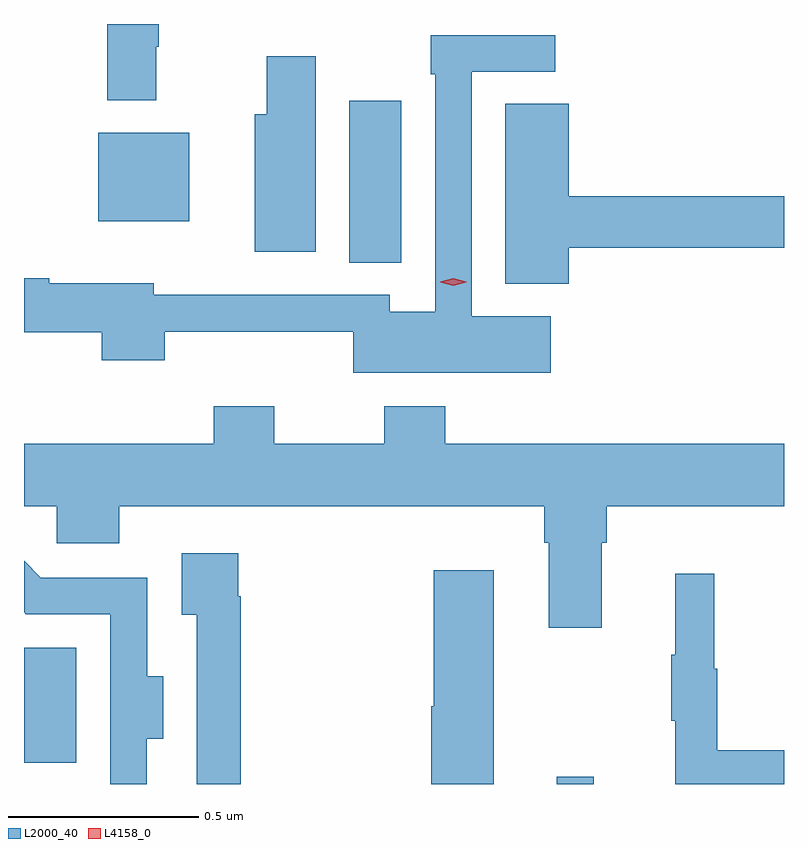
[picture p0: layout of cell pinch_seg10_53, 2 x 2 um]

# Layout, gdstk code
import gdstk
lib = gdstk.Library(unit=1e-6, precision=1e-09)
def R(c, l, rs):  # rectangles x0, y0, x1, y1
    for r in rs: c.add(gdstk.rectangle(r[:2], r[2:], *l))
def P(c, l, *ps):  # polygons
    for p in ps: c.add(gdstk.Polygon(p, *l))
L2000_40 = (2000, 40)
L4158_0 = (4158, 0)

pinch_seg10_53 = lib.new_cell('pinch_seg10_53')
R(pinch_seg10_53, L2000_40, [(853.874,1287.597,853.971,1287.616), (852.472,1287.653,852.61,1287.955), (853.328,1288.969,853.465,1289.395), (852.668,1289.078,852.907,1289.311)])
P(pinch_seg10_53, L2000_40, [(852.82,1289.537),(852.827,1289.537),(852.827,1289.597),(852.691,1289.597),(852.691,1289.397),(852.82,1289.397)],
  [(853.858,1288.828),(853.65,1288.828),(853.65,1289.472),(853.87,1289.472),(853.87,1289.568),(853.542,1289.568),(853.542,1289.465),(853.554,1289.465),(853.554,1288.84),(853.434,1288.84),(853.434,1288.884),(852.814,1288.884),(852.814,1288.915),(852.538,1288.915),(852.538,1288.928),(852.472,1288.928),(852.472,1288.786),(852.677,1288.786),(852.677,1288.712),(852.842,1288.712),(852.842,1288.787),(853.338,1288.787),(853.338,1288.679),(853.858,1288.679)],
  [(853.24,1289.512),(853.111,1289.512),(853.111,1289.359),(853.079,1289.359),(853.079,1288.998),(853.24,1288.998)],
  [(853.906,1289.008),(854.472,1289.008),(854.472,1289.144),(853.906,1289.144),(853.906,1289.387),(853.739,1289.387),(853.739,1288.913),(853.906,1288.913)],
  [(853.993,1288.232),(854.006,1288.232),(854.006,1288.328),(854.472,1288.328),(854.472,1288.492),(853.58,1288.492),(853.58,1288.591),(853.42,1288.591),(853.42,1288.492),(853.131,1288.492),(853.131,1288.591),(852.971,1288.591),(852.971,1288.492),(852.472,1288.492),(852.472,1288.328),(852.558,1288.328),(852.558,1288.23),(852.722,1288.23),(852.722,1288.328),(853.841,1288.328),(853.841,1288.232),(853.853,1288.232),(853.853,1288.008),(853.993,1288.008)],
  [(853.043,1288.091),(853.036,1288.091),(853.036,1288.204),(852.887,1288.204),(852.887,1288.043),(852.927,1288.043),(852.927,1287.597),(853.043,1287.597)],
  [(852.795,1287.716),(852.838,1287.716),(852.838,1287.88),(852.796,1287.88),(852.796,1288.14),(852.516,1288.14),(852.472,1288.184),(852.472,1288.049),(852.477,1288.044),(852.699,1288.044),(852.699,1287.597),(852.795,1287.597)],
  [(853.708,1288.159),(853.55,1288.159),(853.55,1287.801),(853.544,1287.801),(853.544,1287.597),(853.708,1287.597)],
  [(854.472,1287.686),(854.296,1287.686),(854.296,1287.9),(854.288,1287.9),(854.288,1288.15),(854.186,1288.15),(854.186,1287.937),(854.175,1287.937),(854.175,1287.763),(854.186,1287.763),(854.186,1287.597),(854.472,1287.597)])
P(pinch_seg10_53, L4158_0, [(853.601,1288.908),(853.567,1288.918),(853.567,1288.918),(853.567,1288.919),(853.601,1288.928),(853.636,1288.919),(853.636,1288.918),(853.636,1288.918)])

lib.write_gds('pinch_seg10_53.gds')
